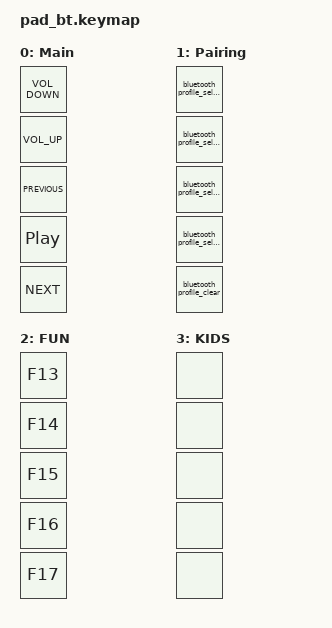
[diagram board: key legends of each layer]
#undef ZMK_BEHAVIORS_KEEP_ALL

#include <behaviors.dtsi>
#include <dt-bindings/zmk/keys.h>
#include <dt-bindings/zmk/bt.h>
#include <dt-bindings/zmk/rgb.h>

/ {
     macros {
        go_to_bluetooth_layer: go_to_bluetooth_layer {
            compatible = "zmk,behavior-macro";
            #binding-cells = <0>;
            bindings = <&macro_press &to 1>, 
            <&macro_press &rgb_ug RGB_ON>, 
            <&macro_press &rgb_ug RGB_COLOR_HSB(225, 100, 50)>, 
            <&macro_press &rgb_ug RGB_EFF>; 
        };

        go_to_default_layer_reverse_effect: go_to_default_layer_reverse_effect {
            compatible = "zmk,behavior-macro";
            #binding-cells = <0>;
            bindings = <&macro_press &to 0>, 
            <&macro_press &rgb_ug RGB_EFR>, 
            <&macro_press &rgb_ug RGB_COLOR_HSB(120, 100, 50)>; 
        };

        go_to_default_layer: go_to_default_layer {
            compatible = "zmk,behavior-macro";
            #binding-cells = <0>;
            bindings = <&macro_press &to 0>,
            <&macro_press &rgb_ug RGB_COLOR_HSB(120, 100, 50)>; 
        };

        go_to_layer_fun: go_to_layer_fun {
            compatible = "zmk,behavior-macro";
            #binding-cells = <0>;
            bindings = <&macro_press &to 2>,
            <&macro_press &rgb_ug RGB_COLOR_HSB(277, 100, 100)>; 
        };

        go_to_layer_kid: go_to_layer_kid {
            compatible = "zmk,behavior-macro";
            #binding-cells = <0>;
            bindings = <&macro_press &to 3>,
            <&macro_press &rgb_ug RGB_COLOR_HSB(1, 88, 80)>; 
        };
        
        bluetooth_profile_clear: bluetooth_profile_clear {
            compatible = "zmk,behavior-macro";
            #binding-cells = <0>;
            bindings = <&macro_press &bt BT_CLR>, 
            <&macro_press &rgb_ug RGB_TOG>, 
            <&macro_wait_time 100>, 
            <&macro_press &rgb_ug RGB_TOG>, 
            <&macro_wait_time 100>, 
            <&macro_press &rgb_ug RGB_TOG>, 
            <&macro_wait_time 100>, 
            <&macro_press &rgb_ug RGB_TOG>, 
            <&macro_wait_time 100>, 
            <&macro_press &rgb_ug RGB_TOG>, 
            <&macro_wait_time 100>, 
            <&macro_press &rgb_ug RGB_TOG>, 
            <&macro_wait_time 100>, 
            <&macro_press &rgb_ug RGB_TOG>, 
            <&macro_wait_time 100>, 
            <&macro_press &rgb_ug RGB_TOG>, 
            <&macro_wait_time 100>, 
            <&macro_press &rgb_ug RGB_TOG>, 
            <&macro_wait_time 100>, 
            <&macro_press &rgb_ug RGB_TOG>; 
        };

        bluetooth_profile_select_0: bluetooth_profile_select_0 {
            compatible = "zmk,behavior-macro";
            #binding-cells = <0>;
            bindings = <&macro_press &bt BT_SEL 0>, 
            <&macro_press &rgb_ug RGB_TOG>, 
            <&macro_wait_time 100>, 
            <&macro_press &rgb_ug RGB_TOG>, 
            <&macro_wait_time 100>, 
            <&macro_press &rgb_ug RGB_TOG>, 
            <&macro_wait_time 100>, 
            <&macro_press &rgb_ug RGB_TOG>, 
            <&macro_wait_time 100>, 
            <&macro_press &rgb_ug RGB_TOG>, 
            <&macro_wait_time 100>, 
            <&macro_press &rgb_ug RGB_TOG>; 
        };

        bluetooth_profile_select_1: bluetooth_profile_select_1 {
            compatible = "zmk,behavior-macro";
            #binding-cells = <0>;
            bindings = <&macro_press &bt BT_SEL 1>, 
            <&macro_press &rgb_ug RGB_TOG>, 
            <&macro_wait_time 100>, 
            <&macro_press &rgb_ug RGB_TOG>, 
            <&macro_wait_time 100>, 
            <&macro_press &rgb_ug RGB_TOG>, 
            <&macro_wait_time 100>, 
            <&macro_press &rgb_ug RGB_TOG>, 
            <&macro_wait_time 100>, 
            <&macro_press &rgb_ug RGB_TOG>, 
            <&macro_wait_time 100>, 
            <&macro_press &rgb_ug RGB_TOG>; 
        };

        bluetooth_profile_select_2: bluetooth_profile_select_2 {
            compatible = "zmk,behavior-macro";
            #binding-cells = <0>;
            bindings = <&macro_press &bt BT_SEL 2>, 
            <&macro_press &rgb_ug RGB_TOG>, 
            <&macro_wait_time 100>, 
            <&macro_press &rgb_ug RGB_TOG>, 
            <&macro_wait_time 100>, 
            <&macro_press &rgb_ug RGB_TOG>, 
            <&macro_wait_time 100>, 
            <&macro_press &rgb_ug RGB_TOG>, 
            <&macro_wait_time 100>, 
            <&macro_press &rgb_ug RGB_TOG>, 
            <&macro_wait_time 100>, 
            <&macro_press &rgb_ug RGB_TOG>; 
        };

        bluetooth_profile_select_3: bluetooth_profile_select_3 {
            compatible = "zmk,behavior-macro";
            #binding-cells = <0>;
            bindings = <&macro_press &bt BT_SEL 3>, 
            <&macro_press &rgb_ug RGB_TOG>, 
            <&macro_wait_time 100>, 
            <&macro_press &rgb_ug RGB_TOG>, 
            <&macro_wait_time 100>, 
            <&macro_press &rgb_ug RGB_TOG>, 
            <&macro_wait_time 100>, 
            <&macro_press &rgb_ug RGB_TOG>, 
            <&macro_wait_time 100>, 
            <&macro_press &rgb_ug RGB_TOG>, 
            <&macro_wait_time 100>, 
            <&macro_press &rgb_ug RGB_TOG>; 
        };
    };

    combos {
        compatible = "zmk,combos";
        combo_play_pause {
            timeout-ms = <50>;
            key-positions = <0 1>;
            bindings = <&studio_unlock>;
        };

        combo_pairing {
            timeout-ms = <50>;
            key-positions = <2 3 4>;
            layers = <0>;
            bindings = <&go_to_bluetooth_layer>;
        };

        combo_exit_pairing {
            timeout-ms = <50>;
            key-positions = <2 3 4>;
            layers = <1>;
            bindings = <&go_to_default_layer_reverse_effect>;
        };

        combo_layer_fun {
            timeout-ms = <50>;
            key-positions = <0 2>;
            layers = <0>;
            bindings = <&go_to_layer_fun>;
        };

        combo_exit_layer_fun {
            timeout-ms = <50>;
            key-positions = <0 2>;
            layers = <2>;
            bindings = <&go_to_default_layer>;
        };

        combo_layer_kid {
            timeout-ms = <50>;
            key-positions = <1 3>;
            layers = <0>;
            bindings = <&go_to_layer_kid>;
        };

        combo_exit_layer_kid {
            timeout-ms = <50>;
            key-positions = <1 3>;
            layers = <3>;
            bindings = <&go_to_default_layer>;
        };
    };

    keymap {
        compatible = "zmk,keymap";

        default_layer { // Layer 0
            display-name = "Main";
            // -------------------------------------
            //       |     Vol -/Layer 1     |     Vol +     |
            // |     Prev     |     Play     |     Next     |
            bindings = <
                &kp C_VOLUME_DOWN
                &kp C_VOLUME_UP
                &kp C_PREVIOUS
                &kp C_PLAY_PAUSE
                &kp C_NEXT
            >;
        };

        bluetooth_layer { // Layer 1
            display-name = "Pairing";
            // -------------------------------------
            //       |     BT 0     |     BT 1     |
            // |     BT 2    |     BT 3     |     BT CLR     |
            bindings = <
                &bluetooth_profile_select_0
                &bluetooth_profile_select_1
                &bluetooth_profile_select_2
                &bluetooth_profile_select_3
                &bluetooth_profile_clear
            >;
        };

        user_layer_1 { // Layer 2
            display-name = "FUN";
            // -------------------------------------
            //       |     RGB TOG     |     Brightness Up     |
            // |     None     |     Brightness Down    |     Hue     |
            bindings = <
                &kp F13
                &kp F14
                &kp F15
                &kp F16
                &kp F17
            >;
        };

        user_layer_2 { // Layer 3
            display-name = "KIDS";
            // -------------------------------------
            //       |     RGB TOG     |     Brightness Up     |
            // |     None     |     Brightness Down    |     Hue     |
            bindings = <
                &none
                &none
                &none
                &none
                &none
            >;
        };
    };
 };
 
